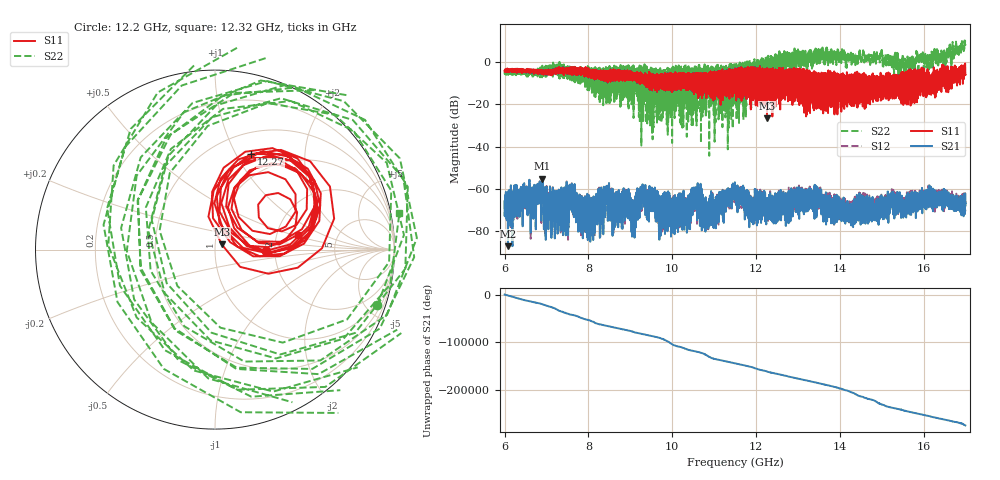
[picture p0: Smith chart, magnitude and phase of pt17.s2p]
#  HZ  S  RI  R  50.00
! Rohde & Schwarz Vector Network Analyzer
! Rohde-Schwarz,ZNA67-2Port,1332450062101215,3.01
! Created: UTC 10/26/2026, 5:17:37 PM
! freq[Hz]  re:S11  im:S11  re:S21  im:S21  re:S12  im:S12  re:S22  im:S22
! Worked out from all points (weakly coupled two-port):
!   11001 points, 6 GHz to 17 GHz, reference 50 ohm
!   highest |S21| = -55.14 dB at 6.902 GHz (marker M1); lowest = -87.1 dB at 6.079 GHz (marker M2)
!   lowest |S11| = -26.5 dB at 12.26 GHz (marker M3), VSWR 1.10, Z = 53.8 + j3.1 ohm
!   |S11| at or under -10 dB: 13.70699 GHz to 13.71243 GHz (5.448 MHz wide, 0.0397 % of centre); 13.99949 GHz to 14.00501 GHz (5.516 MHz wide, 0.0394 % of centre); 14.13875 GHz to 14.14429 GHz (5.531 MHz wide, 0.0391 % of centre) (the widest 3 of 624)
!   |S22| runs from -44.3 to 10.3 dB; largest |S21 - S12| = 0.0012
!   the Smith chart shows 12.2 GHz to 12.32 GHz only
!   S11 on the Smith chart (normalised r, x): 12.2 GHz: 1.80, -0.03; 12.27 GHz: 0.73, +1.15; 12.32 GHz: 2.64, +0.57
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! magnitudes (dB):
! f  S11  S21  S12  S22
! 6 GHz  -4.3  -65.9  -65.8  -4.5
! 6.079 GHz  -4.0  -87.1  -85.4  -3.9
! 6.902 GHz  -4.5  -55.1  -55.1  -2.5
! 7.235 GHz  -4.9  -68.4  -67.9  -2.3
! 7.635 GHz  -3.7  -64.0  -64.5  -3.2
! 7.834 GHz  -3.8  -72.7  -74.5  -3.1
! 8.463 GHz  -7.0  -68.0  -68.0  -4.4
! 9.072 GHz  -5.4  -72.0  -70.4  -1.5
! 9.298 GHz  -7.8  -60.9  -61.2  -13.5
! 9.667 GHz  -6.7  -71.1  -69.4  -4.6
! 10.38 GHz  -8.7  -70.4  -71.1  -4.2
! 10.56 GHz  -10.2  -62.3  -61.9  -6.2
! 10.84 GHz  -10.9  -71.2  -69.4  -14.8
! 11.5 GHz  -3.2  -59.0  -59.3  -4.3
! 12.2 GHz  -10.9  -62.5  -62.9  -0.4
! 12.26 GHz  -26.5  -69.1  -68.9  -0.7
! 12.27 GHz  -4.9  -67.5  -66.0  -3.8
! 12.32 GHz  -6.5  -67.6  -65.9  0.4
! 13.33 GHz  -6.8  -66.2  -65.7  -1.4
! 14.27 GHz  -12.1  -70.1  -70.1  5.1
! 15.17 GHz  -14.0  -66.3  -64.5  0.6
! 17 GHz  -6.1  -67.7  -70.6  8.5
